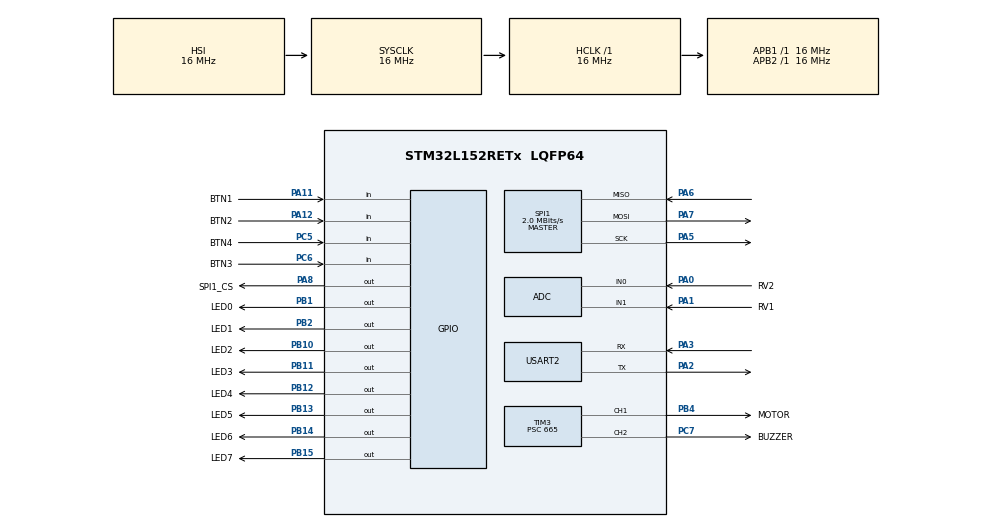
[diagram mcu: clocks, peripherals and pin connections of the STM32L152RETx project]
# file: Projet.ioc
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ADC.Channel-0\#ChannelRegularConversion=ADC_CHANNEL_1
ADC.Channel-1\#ChannelRegularConversion=ADC_CHANNEL_0
ADC.ContinuousConvMode=ENABLE
ADC.InjNumberOfConversion=0
ADC.NbrOfConversion=2
ADC.NbrOfConversionFlag=1
ADC.Rank-0\#ChannelRegularConversion=1
ADC.Rank-1\#ChannelRegularConversion=2
ADC.SamplingTime-0\#ChannelRegularConversion=ADC_SAMPLETIME_4CYCLES
ADC.SamplingTime-1\#ChannelRegularConversion=ADC_SAMPLETIME_4CYCLES
ADC.ScanConvMode=ADC_SCAN_ENABLE
Mcu.Family=STM32L1
Mcu.Name=STM32L152RETx
Mcu.Package=LQFP64
NVIC.PriorityGroup=NVIC_PRIORITYGROUP_4
NVIC.TIM4_IRQn=true\:0\:0\:false\:false\:true\:true\:true
NVIC.TIM5_IRQn=true\:0\:0\:false\:false\:true\:true\:true
PA0-WKUP1.GPIO_Label=RV2
PA0-WKUP1.Mode=IN0
PA0-WKUP1.Signal=ADC_IN0
PA1.GPIO_Label=RV1
PA1.Mode=IN1
PA1.Signal=ADC_IN1
PA11.GPIO_Label=BTN1
PA11.Signal=GPIO_Input
PA12.GPIO_Label=BTN2
PA12.Signal=GPIO_Input
PA2.Mode=Asynchronous
PA2.Signal=USART2_TX
PA3.Mode=Asynchronous
PA3.Signal=USART2_RX
PA5.Mode=Full_Duplex_Master
PA5.Signal=SPI1_SCK
PA6.Mode=Full_Duplex_Master
PA6.Signal=SPI1_MISO
PA7.Mode=Full_Duplex_Master
PA7.Signal=SPI1_MOSI
PA8.GPIO_Label=SPI1_CS
PA8.GPIO_PuPd=GPIO_NOPULL
PA8.Signal=GPIO_Output
PB1.GPIO_Label=LED0
PB1.Signal=GPIO_Output
PB10.GPIO_Label=LED2
PB10.Signal=GPIO_Output
PB11.GPIO_Label=LED3
PB11.Signal=GPIO_Output
PB12.GPIO_Label=LED4
PB12.Signal=GPIO_Output
PB13.GPIO_Label=LED5
PB13.Signal=GPIO_Output
PB14.GPIO_Label=LED6
PB14.Signal=GPIO_Output
PB15.GPIO_Label=LED7
PB15.Signal=GPIO_Output
PB2.GPIO_Label=LED1
PB2.Signal=GPIO_Output
PB4.GPIO_Label=MOTOR
PB4.Signal=S_TIM3_CH1
PC5.GPIO_Label=BTN4
PC5.Signal=GPIO_Input
PC6.GPIO_Label=BTN3
PC6.Signal=GPIO_Input
PC7.GPIO_Label=BUZZER
PC7.Signal=S_TIM3_CH2
ProjectManager.HeapSize=0x200
ProjectManager.StackSize=0x400
ProjectManager.TargetToolchain=STM32CubeIDE
RCC.AHBFreq_Value=16000000
RCC.APB1Freq_Value=16000000
RCC.APB1TimFreq_Value=16000000
RCC.APB2Freq_Value=16000000
RCC.APB2TimFreq_Value=16000000
RCC.HCLKFreq_Value=16000000
RCC.HSE_VALUE=24000000
RCC.HSI_VALUE=16000000
RCC.LSE_VALUE=32768
RCC.MSI_VALUE=2097000
RCC.SYSCLKFreq_VALUE=16000000
RCC.SYSCLKSource=RCC_SYSCLKSOURCE_HSI
RCC.VCOOutputFreq_Value=48000000
SH.S_TIM3_CH1.0=TIM3_CH1,PWM Generation1 CH1
SH.S_TIM3_CH2.0=TIM3_CH2,PWM Generation2 CH2
SPI1.BaudRatePrescaler=SPI_BAUDRATEPRESCALER_8
SPI1.CalculateBaudRate=2.0 MBits/s
SPI1.Direction=SPI_DIRECTION_2LINES
SPI1.Mode=SPI_MODE_MASTER
SPI1.VirtualType=VM_MASTER
TIM3.Channel-PWM\ Generation1\ CH1=TIM_CHANNEL_1
TIM3.Channel-PWM\ Generation2\ CH2=TIM_CHANNEL_2
TIM3.Period=10
TIM3.Prescaler=665
TIM3.Pulse-PWM\ Generation2\ CH2=5
TIM4.Channel-Output\ Compare1\ No\ Output=TIM_CHANNEL_1
TIM4.ClockDivision=TIM_CLOCKDIVISION_DIV1
TIM4.Period=500
TIM4.Prescaler=15999
TIM4.Pulse-Output\ Compare1\ No\ Output=250
TIM5.Period=50
TIM5.Prescaler=15999
USART2.VirtualMode=VM_ASYNC
VP_TIM4_VS_no_output1.Mode=Output Compare1 No Output
VP_TIM5_VS_OPM.Mode=OPM_bit
board=custom

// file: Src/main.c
/* USER CODE BEGIN Header */
/**
 ******************************************************************************
 * @file           : main.c
 * @brief          : Main program body
 ******************************************************************************
 * @attention
 *
 * <h2><center>&copy; Copyright (c) 2019 STMicroelectronics.
 * All rights reserved.</center></h2>
 *
 * This software component is licensed by ST under BSD 3-Clause license,
 * the "License"; You may not use this file except in compliance with the
 * License. You may obtain a copy of the License at:
 *                        opensource.org/licenses/BSD-3-Clause
 *
 ******************************************************************************
 */
/* USER CODE END Header */

#include "main.h"
#include "adc.h"
#include "spi.h"
#include "tim.h"
#include "usart.h"
#include "gpio.h"

/* USER CODE BEGIN Includes */
#include <stdio.h>
#include "../Inc/display.h"
/* USER CODE END Includes */

/* USER CODE BEGIN PD */
int map(int x, int in_min, int in_max, int out_min, int out_max);
/* USER CODE END PD */

/* USER CODE BEGIN PV */
int pwm=0;
int adc=0;
int state = 0;

int La = 3635;
int Do = 6109;
int Re = 5455;
int Mi = 4848;

int multiplier = 1;

int gamme= 0;

uint16_t fq = 0;
int psc = 0;
int psc2 = 0;
int adc1,adc2;
uint8_t data[5];
/* USER CODE END PV */

void SystemClock_Config(void);

/* USER CODE BEGIN 0 */

void turnOnLED()
{
	HAL_GPIO_WritePin(LED0_GPIO_Port, LED0_Pin, 1);
	HAL_GPIO_WritePin(LED1_GPIO_Port, LED1_Pin, 1);
	HAL_GPIO_WritePin(LED2_GPIO_Port, LED2_Pin, 1);
	HAL_GPIO_WritePin(LED3_GPIO_Port, LED3_Pin, 1);
	HAL_GPIO_WritePin(LED4_GPIO_Port, LED4_Pin, 1);
	HAL_GPIO_WritePin(LED5_GPIO_Port, LED5_Pin, 1);
	HAL_GPIO_WritePin(LED6_GPIO_Port, LED6_Pin, 1);
	HAL_GPIO_WritePin(LED7_GPIO_Port, LED7_Pin, 1);
}

void turnOffLED()
{
	HAL_GPIO_WritePin(LED0_GPIO_Port, LED0_Pin, 0);
	HAL_GPIO_WritePin(LED1_GPIO_Port, LED1_Pin, 0);
	HAL_GPIO_WritePin(LED2_GPIO_Port, LED2_Pin, 0);
	HAL_GPIO_WritePin(LED3_GPIO_Port, LED3_Pin, 0);
	HAL_GPIO_WritePin(LED4_GPIO_Port, LED4_Pin, 0);
	HAL_GPIO_WritePin(LED5_GPIO_Port, LED5_Pin, 0);
	HAL_GPIO_WritePin(LED6_GPIO_Port, LED6_Pin, 0);
	HAL_GPIO_WritePin(LED7_GPIO_Port, LED7_Pin, 0);
}

void HAL_TIM_PeriodElapsedCallback(TIM_HandleTypeDef *htim)
{

	if (htim->Instance == TIM4)
	{
//		printf("TIMER4\n");
		HAL_TIM_Base_Start_IT(&htim5);
		turnOnLED();
//		printf("TIMER4\n");
	}

	if (htim->Instance == TIM5)
	{
//		printf("TIMER5\n");
		turnOffLED();
//		__HAL_TIM_SET_PRESCALER(&htim3,665);
//		HAL_TIM_PWM_Start_IT(&htim3, TIM_CHANNEL_2);
//		printf("TIMER5\n");
	}

}
/* USER CODE END 0 */

int main(void)
{

	/* MCU Configuration--------------------------------------------------------*/

	/* Reset of all peripherals, Initializes the Flash interface and the Systick. */
	HAL_Init();

	/* Configure the system clock */
	SystemClock_Config();

	/* Initialize all configured peripherals */
	MX_GPIO_Init();
	MX_ADC_Init();
	MX_TIM3_Init();
	MX_USART2_UART_Init();
	MX_SPI1_Init();
	MX_TIM4_Init();
	MX_TIM5_Init();
	/* USER CODE BEGIN 2 */
	MAX7219_Config();
	HAL_TIM_Base_Start_IT(&htim4);
	/* USER CODE END 2 */

	/* Infinite loop */
	/* USER CODE BEGIN WHILE */
	while (1)
	{

		while (HAL_GPIO_ReadPin(BTN1_GPIO_Port, BTN1_Pin) == 0)
		{
			SPI_write(0x0C, 0x01);//Shutdown à 1 (Mode activé)

			HAL_ADC_Start(&hadc);

			HAL_ADC_PollForConversion(&hadc, 50);
			adc2 = HAL_ADC_GetValue(&hadc);

			HAL_ADC_PollForConversion(&hadc, 50);
			adc1 = HAL_ADC_GetValue(&hadc);

			HAL_Delay(50);

			HAL_ADC_Stop(&hadc);

			gamme = map(adc1,0,4096,3,13);
			psc2 = map(adc2,0,4096,500,250);

			switch (gamme)
			{

			case 12:
				La = 3635/64;
				break;

			case 11:
				La = 3635/32;
				break;

			case 10:
				La = 3635/16;
				break;

			case 9:
				La = 3635/8;
				break;

			case 8:
				La = 3635/4;
				multiplier = 4;
				break;

			case 7:
				La = 3635/2;
				multiplier = 2;
				break;

			case 6:
				La = 3635/1;
				multiplier = 1;
				break;

			case 5:
				La = 3635*2;
				multiplier = 2;
				break;

			case 4:
				La = 3635*4;
				multiplier = 4;
				break;

			case 3:
				La = 3635*8;
				multiplier = 8;
				break;

			case 2:
				La = 3635*16;
				multiplier = 16;
				break;

			case 1:
				La = 3635*32;
				multiplier = 32;
				break;

			case 0:
				La = 3635*64;
				multiplier = 64;
				break;

			default:

				La = 3635;

			}

			fq = (16000000/(La+1))/10;

			Segment_Display(fq);

			printf("PSC Value : %d\tFrequence : %d\n",gamme,fq);

			__HAL_TIM_SET_PRESCALER(&htim3,La);
			__HAL_TIM_SET_AUTORELOAD(&htim4,psc2);

			HAL_TIM_PWM_Start(&htim3, TIM_CHANNEL_2);

			HAL_Delay(50);
		}

		while (HAL_GPIO_ReadPin(BTN2_GPIO_Port, BTN2_Pin) == 0)
		{
			SPI_write(0x0C, 0x01);//Shutdown à 1 (Mode activé)

			HAL_ADC_Start(&hadc);

			HAL_ADC_PollForConversion(&hadc, 50);
			adc2 = HAL_ADC_GetValue(&hadc);

			HAL_ADC_PollForConversion(&hadc, 50);
			adc1 = HAL_ADC_GetValue(&hadc);

			HAL_Delay(50);

			HAL_ADC_Stop(&hadc);

			gamme = map(adc1,0,4096,3,13);
//			psc = map(adc1,0,4096,200,8000);
			psc2 = map(adc2,0,4096,500,250);

			switch (gamme)
			{

			case 12:
				Do = 6109/64;
				break;

			case 11:
				Do = 6109/32;
				break;

			case 10:
				Do = 6109/16;
				break;

			case 9:
				Do = 6109/8;
				break;

			case 8:
				Do = 6109/4;
				multiplier = 4;
				break;

			case 7:
				Do = 6109/2;
				multiplier = 2;
				break;

			case 6:
				Do = 6109/1;
				multiplier = 1;
				break;

			case 5:
				Do = 6109*2;
				multiplier = 2;
				break;

			case 4:
				Do = 6109*4;
				multiplier = 4;
				break;

			case 3:
				Do = 6109*8;
				multiplier = 8;
				break;

			case 2:
				Do = 6109*16;
				multiplier = 16;
				break;

			case 1:
				Do = 6109*32;
				multiplier = 32;
				break;

			case 0:
				Do = 6109*64;
				multiplier = 64;
				break;

			default:

				Do = 6109;

			}

			fq = (16000000/(Do+1))/10;

//			fq = (16000000/(psc+1))/10;

			Segment_Display(fq);

//			printf("PSC Value : %d\tFrequence : %d\n",psc,fq);
			__HAL_TIM_SET_PRESCALER(&htim3,Do);
			__HAL_TIM_SET_AUTORELOAD(&htim4,psc2);

			HAL_TIM_PWM_Start(&htim3, TIM_CHANNEL_2);

			HAL_Delay(50);
		}

		while (HAL_GPIO_ReadPin(BTN3_GPIO_Port, BTN3_Pin) == 0)
		{
			SPI_write(0x0C, 0x01);//Shutdown à 1 (Mode activé)

			HAL_ADC_Start(&hadc);

			HAL_ADC_PollForConversion(&hadc, 10);
			adc2 = HAL_ADC_GetValue(&hadc);

			HAL_ADC_PollForConversion(&hadc, 10);
			adc1 = HAL_ADC_GetValue(&hadc);

			HAL_Delay(50);

			HAL_ADC_Stop(&hadc);

			gamme = map(adc1,0,4096,3,13);
			psc2 = map(adc2,0,4096,500,250);

			switch (gamme)
			{

			case 12:
				Re = 5455/64;
				break;

			case 11:
				Re = 5455/32;
				break;

			case 10:
				Re = 5455/16;
				break;

			case 9:
				Re = 5455/8;
				break;

			case 8:
				Re = 5455/4;
				multiplier = 4;
				break;

			case 7:
				Re = 5455/2;
				multiplier = 2;
				break;

			case 6:
				Re = 5455/1;
				multiplier = 1;
				break;

			case 5:
				Re = 5455*2;
				multiplier = 2;
				break;

			case 4:
				Re = 5455*4;
				multiplier = 4;
				break;

			case 3:
				Re = 5455*8;
				multiplier = 8;
				break;

			case 2:
				Re = 5455*16;
				multiplier = 16;
				break;

			case 1:
				Re = 5455*32;
				multiplier = 32;
				break;

			case 0:
				Re = 5455*64;
				multiplier = 64;
				break;

			default:

				Re = 5455;

			}

			fq = (16000000/(Re+1))/10;

			Segment_Display(fq);

//			printf("PSC Value : %d\tFrequence : %d\n",psc,fq);
			__HAL_TIM_SET_PRESCALER(&htim3,Re);
			__HAL_TIM_SET_AUTORELOAD(&htim4,psc2);

			HAL_TIM_PWM_Start(&htim3, TIM_CHANNEL_2);

			HAL_Delay(50);
		}

		while (HAL_GPIO_ReadPin(BTN4_GPIO_Port, BTN4_Pin) == 0)
		{
			SPI_write(0x0C, 0x01);//Shutdown à 1 (Mode activé)

			HAL_ADC_Start(&hadc);

			HAL_ADC_PollForConversion(&hadc, 50);
			adc2 = HAL_ADC_GetValue(&hadc);

			HAL_ADC_PollForConversion(&hadc, 50);
			adc1 = HAL_ADC_GetValue(&hadc);

			HAL_Delay(50);

			HAL_ADC_Stop(&hadc);

			gamme = map(adc1,0,4096,3,13);
			psc2 = map(adc2,0,4096,500,250);

			switch (gamme)
			{

			case 12:
				Mi = 4848/64;
				break;

			case 11:
				Mi = 4848/32;
				break;

			case 10:
				Mi = 4848/16;
				break;

			case 9:
				Mi = 4848/8;
				break;

			case 8:
				Mi = 4848/4;
				multiplier = 4;
				break;

			case 7:
				Mi = 4848/2;
				multiplier = 2;
				break;

			case 6:
				Mi = 4848/1;
				multiplier = 1;
				break;

			case 5:
				Mi = 4848*2;
				multiplier = 2;
				break;

			case 4:
				Mi = 4848*4;
				multiplier = 4;
				break;

			case 3:
				Mi = 4848*8;
				multiplier = 8;
				break;

			case 2:
				Mi = 4848*16;
				multiplier = 16;
				break;

			case 1:
				Mi = 4848*32;
				multiplier = 32;
				break;

			case 0:
				Mi = 4848*64;
				multiplier = 64;
				break;

			default:

				Mi = 4848;

			}

			fq = (16000000/(Mi+1))/10;

			Segment_Display(fq);

//			printf("PSC Value : %d\tFrequence : %d\n",psc,fq);
			__HAL_TIM_SET_PRESCALER(&htim3,Mi);
			__HAL_TIM_SET_AUTORELOAD(&htim4,psc2);

			HAL_TIM_PWM_Start(&htim3, TIM_CHANNEL_2);

			HAL_Delay(50);
		}

		if ((HAL_GPIO_ReadPin(BTN1_GPIO_Port, BTN1_Pin) == 1) | (HAL_GPIO_ReadPin(BTN2_GPIO_Port, BTN2_Pin) == 1) | (HAL_GPIO_ReadPin(BTN3_GPIO_Port, BTN3_Pin) == 1) | (HAL_GPIO_ReadPin(BTN4_GPIO_Port, BTN4_Pin) == 1))
		{
			SPI_write(0x0C, 0x00);//Shutdown à 1 (Mode activé)
			HAL_TIM_PWM_Stop(&htim3, TIM_CHANNEL_2);

			HAL_ADC_Start(&hadc);

			HAL_ADC_PollForConversion(&hadc, 10);
			adc2 = HAL_ADC_GetValue(&hadc);

			HAL_ADC_PollForConversion(&hadc, 10);
			adc1 = HAL_ADC_GetValue(&hadc);

			HAL_Delay(50);

			HAL_ADC_Stop(&hadc);

//			printf("adc1 : %d \tadc2 : %d\n",adc1,adc2);

			psc2 = map(adc2,0,4096,500,250);

//			printf("psc2 : %d\n",psc2);

//			__HAL_TIM_SET_COMPARE(&htim4,TIM_CHANNEL_1,psc2/2);
			__HAL_TIM_SET_AUTORELOAD(&htim4,psc2);

		}

		/* USER CODE END WHILE */

	}
}

void SystemClock_Config(void)
{
	RCC_OscInitTypeDef RCC_OscInitStruct = {0};
	RCC_ClkInitTypeDef RCC_ClkInitStruct = {0};

	/** Configure the main internal regulator output voltage
	 */
	__HAL_PWR_VOLTAGESCALING_CONFIG(PWR_REGULATOR_VOLTAGE_SCALE1);
	/** Initializes the CPU, AHB and APB busses clocks
	 */
	RCC_OscInitStruct.OscillatorType = RCC_OSCILLATORTYPE_HSI;
	RCC_OscInitStruct.HSIState = RCC_HSI_ON;
	RCC_OscInitStruct.HSICalibrationValue = RCC_HSICALIBRATION_DEFAULT;
	RCC_OscInitStruct.PLL.PLLState = RCC_PLL_NONE;
	if (HAL_RCC_OscConfig(&RCC_OscInitStruct) != HAL_OK)
	{
		Error_Handler();
	}
	/** Initializes the CPU, AHB and APB busses clocks
	 */
	RCC_ClkInitStruct.ClockType = RCC_CLOCKTYPE_HCLK|RCC_CLOCKTYPE_SYSCLK
			|RCC_CLOCKTYPE_PCLK1|RCC_CLOCKTYPE_PCLK2;
	RCC_ClkInitStruct.SYSCLKSource = RCC_SYSCLKSOURCE_HSI;
	RCC_ClkInitStruct.AHBCLKDivider = RCC_SYSCLK_DIV1;
	RCC_ClkInitStruct.APB1CLKDivider = RCC_HCLK_DIV1;
	RCC_ClkInitStruct.APB2CLKDivider = RCC_HCLK_DIV1;

	if (HAL_RCC_ClockConfig(&RCC_ClkInitStruct, FLASH_LATENCY_0) != HAL_OK)
	{
		Error_Handler();
	}
}

/* USER CODE BEGIN 4 */
int map(int x, int in_min, int in_max, int out_min, int out_max)
{
	return (x - in_min) * (out_max - out_min) / (in_max - in_min) + out_min;
}
/* USER CODE END 4 */

void Error_Handler(void)
{
}

/************************ (C) COPYRIGHT STMicroelectronics *****END OF FILE****/
